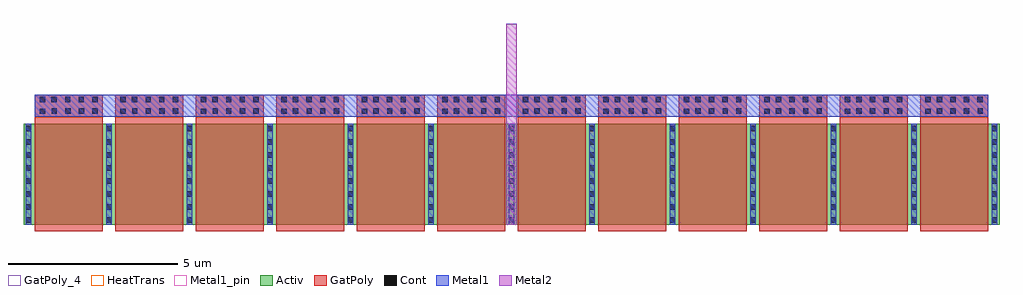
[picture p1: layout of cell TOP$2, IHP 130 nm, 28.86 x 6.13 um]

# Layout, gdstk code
import gdstk
lib = gdstk.Library(unit=1e-6, precision=1e-09)
def R(c, l, rs):  # rectangles x0, y0, x1, y1
    for r in rs: c.add(gdstk.rectangle(r[:2], r[2:], *l))
def A(c, l, x, y, w, h, nx, ny, dx, dy):  # array of equal rectangles
    R(c, l, [(x+i*dx, y+j*dy, x+i*dx+w, y+j*dy+h) for i in range(nx) for j in range(ny)])
Activ = (1, 0)
GatPoly = (5, 0)
GatPoly_4 = (5, 4)
Cont = (6, 0)
Metal1 = (8, 0)
Metal1_pin = (8, 2)
Metal2 = (10, 0)
HeatTrans = (51, 0)

nmos_1_1 = lib.new_cell('nmos$1$1')
A(nmos_1_1, Activ, 14.339, 0.747, 0.3, 0.3, 13, 1, 2.38, 0)
R(nmos_1_1, Activ, [(14.339,0.747,43.199,3.747)])
A(nmos_1_1, GatPoly, 14.679, 0.567, 2, 3.36, 12, 1, 2.38, 0)
R(nmos_1_1, GatPoly_4, [(14.679,0.567,16.679,3.927), (14.679,0.567,16.679,3.927)])
A(nmos_1_1, Cont, 14.409, 0.817, 0.16, 0.16, 13, 7, 2.38, 0.385)
A(nmos_1_1, Cont, 14.409, 3.517, 0.16, 0.16, 13, 1, 2.38, 0)
A(nmos_1_1, Metal1, 14.409, 0.747, 0.16, 3, 13, 1, 2.38, 0)
R(nmos_1_1, Metal1_pin, [(14.409,0.747,14.569,3.747), (14.409,0.747,14.569,3.747), (16.789,0.747,16.949,3.747), (16.789,0.747,16.949,3.747)])
A(nmos_1_1, HeatTrans, 14.679, 0.567, 2, 3.36, 12, 1, 2.38, 0)
nmos_1_1.add(gdstk.Label('nmos', (15.679,2.247), layer=51, texttype=0))
nmos_1_1.add(gdstk.Label('nmos', (18.059,2.247), layer=51, texttype=0))
nmos_1_1.add(gdstk.Label('nmos', (20.439,2.247), layer=51, texttype=0))
nmos_1_1.add(gdstk.Label('nmos', (22.819,2.247), layer=51, texttype=0))
nmos_1_1.add(gdstk.Label('nmos', (25.199,2.247), layer=51, texttype=0))
nmos_1_1.add(gdstk.Label('nmos', (27.579,2.247), layer=51, texttype=0))
nmos_1_1.add(gdstk.Label('nmos', (29.959,2.247), layer=51, texttype=0))
nmos_1_1.add(gdstk.Label('nmos', (32.339,2.247), layer=51, texttype=0))
nmos_1_1.add(gdstk.Label('nmos', (34.719,2.247), layer=51, texttype=0))
nmos_1_1.add(gdstk.Label('nmos', (37.099,2.247), layer=51, texttype=0))
nmos_1_1.add(gdstk.Label('nmos', (39.479,2.247), layer=51, texttype=0))
nmos_1_1.add(gdstk.Label('nmos', (41.859,2.247), layer=51, texttype=0))

top_2 = lib.new_cell('TOP$2')
A(top_2, GatPoly, 14.075, 3.529, 2.001, 0.676, 12, 1, 2.38, 0)
A(top_2, Cont, 14.22, 3.633, 0.16, 0.16, 12, 1, 2.38, 0)
A(top_2, Cont, 14.218, 3.975, 0.16, 0.16, 12, 1, 2.38, 0)
R(top_2, Cont, [(14.564,3.635,14.724,3.795), (14.965,3.635,15.125,3.795), (15.365,3.635,15.525,3.795), (15.766,3.635,15.926,3.795), (16.944,3.635,17.104,3.795), (17.345,3.635,17.505,3.795), (17.745,3.635,17.905,3.795), (18.146,3.635,18.306,3.795), (19.324,3.635,19.484,3.795), (19.725,3.635,19.885,3.795), (20.125,3.635,20.285,3.795), (20.526,3.635,20.686,3.795), (21.704,3.635,21.864,3.795), (22.105,3.635,22.265,3.795), (22.505,3.635,22.665,3.795), (22.906,3.635,23.066,3.795), (24.084,3.635,24.244,3.795), (24.485,3.635,24.645,3.795), (24.885,3.635,25.045,3.795), (25.286,3.635,25.446,3.795), (26.464,3.635,26.624,3.795), (26.865,3.635,27.025,3.795), (27.265,3.635,27.425,3.795), (27.666,3.635,27.826,3.795), (28.844,3.635,29.004,3.795), (29.245,3.635,29.405,3.795), (29.645,3.635,29.805,3.795), (30.046,3.635,30.206,3.795), (31.224,3.635,31.384,3.795), (31.625,3.635,31.785,3.795), (32.025,3.635,32.185,3.795), (32.426,3.635,32.586,3.795), (33.604,3.635,33.764,3.795), (34.005,3.635,34.165,3.795), (34.405,3.635,34.565,3.795), (34.806,3.635,34.966,3.795), (35.984,3.635,36.144,3.795), (36.385,3.635,36.545,3.795), (36.785,3.635,36.945,3.795), (37.186,3.635,37.346,3.795), (38.364,3.635,38.524,3.795), (38.765,3.635,38.925,3.795), (39.165,3.635,39.325,3.795), (39.566,3.635,39.726,3.795), (40.744,3.635,40.904,3.795), (41.145,3.635,41.305,3.795), (41.545,3.635,41.705,3.795), (41.946,3.635,42.106,3.795), (14.562,3.977,14.722,4.137), (14.963,3.977,15.123,4.137), (15.363,3.977,15.523,4.137), (15.764,3.977,15.924,4.137), (16.942,3.977,17.102,4.137), (17.343,3.977,17.503,4.137), (17.743,3.977,17.903,4.137), (18.144,3.977,18.304,4.137), (19.322,3.977,19.482,4.137), (19.723,3.977,19.883,4.137), (20.123,3.977,20.283,4.137), (20.524,3.977,20.684,4.137), (21.702,3.977,21.862,4.137), (22.103,3.977,22.263,4.137), (22.503,3.977,22.663,4.137), (22.904,3.977,23.064,4.137), (24.082,3.977,24.242,4.137), (24.483,3.977,24.643,4.137), (24.883,3.977,25.043,4.137), (25.284,3.977,25.444,4.137), (26.462,3.977,26.622,4.137), (26.863,3.977,27.023,4.137), (27.263,3.977,27.423,4.137), (27.664,3.977,27.824,4.137), (28.842,3.977,29.002,4.137), (29.243,3.977,29.403,4.137), (29.643,3.977,29.803,4.137), (30.044,3.977,30.204,4.137), (31.222,3.977,31.382,4.137), (31.623,3.977,31.783,4.137), (32.023,3.977,32.183,4.137), (32.424,3.977,32.584,4.137), (33.602,3.977,33.762,4.137), (34.003,3.977,34.163,4.137), (34.403,3.977,34.563,4.137), (34.804,3.977,34.964,4.137), (35.982,3.977,36.142,4.137), (36.383,3.977,36.543,4.137), (36.783,3.977,36.943,4.137), (37.184,3.977,37.344,4.137), (38.362,3.977,38.522,4.137), (38.763,3.977,38.923,4.137), (39.163,3.977,39.323,4.137), (39.564,3.977,39.724,4.137), (40.742,3.977,40.902,4.137), (41.143,3.977,41.303,4.137), (41.543,3.977,41.703,4.137), (41.944,3.977,42.104,4.137)])
R(top_2, Metal1, [(14.074,3.553,42.256,4.205)])
R(top_2, Metal2, [(28.015,0.349,28.315,6.295)])
top_2.add(gdstk.Reference(nmos_1_1, (-0.604,-0.398)))

lib.write_gds('TOP_2.gds')
